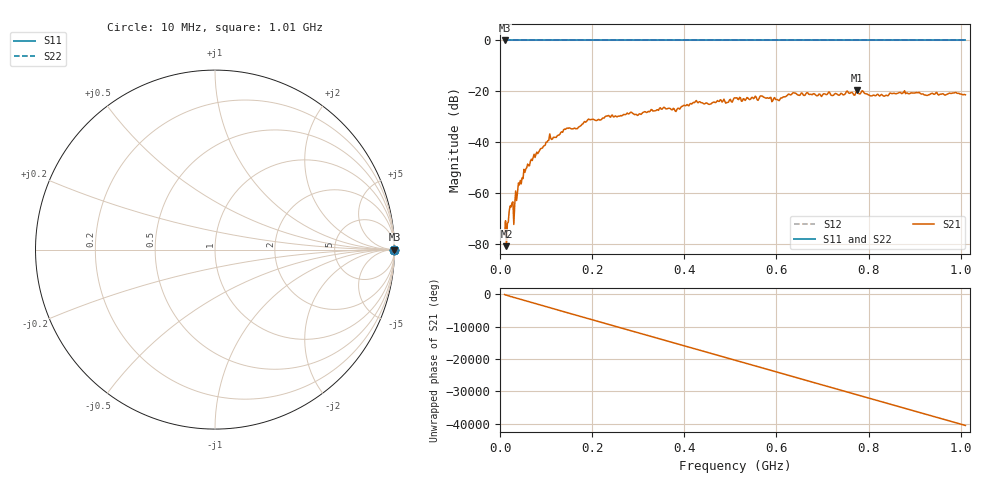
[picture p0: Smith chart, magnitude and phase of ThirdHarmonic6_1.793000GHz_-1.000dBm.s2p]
! 8/16/2025 9:41:46 PM
! C:\ANRITSUVNA\TEMP\TEMP.S2P
! CHANNEL.1
! TR.MEASUREMENT
! RAW.DATA
! RF.CORRECTION.OFF
! AVERAGING.OFF
! IF.BANDWIDTH: 5KHZ
! SWEEPTYPE:  FREQ.SWEEP(Linear)
! Reference Plane Port Info
! PORT:  PORT1  PORT2
! DISTANCE:  0  m  0  m
! TIME:  0  s  0  s
! PHASE.OFFSET:  0  deg.  0  deg.
! LOSS:  0  dB  0  dB
! REF.LOSS:  0  dB  0  dB
! REF.FREQ:  0  Hz  0  Hz
! Power Info
! POWER:  -20  dBm  -20  dBm
! EFF.POWER:  -20  dBm  -20  dBm
! SOURCE.ATTEN:  0  dB  0  dB
! TEST.ATTEN:  0  dB  0  dB
# GHZ S RI R 50.0
! FREQ.GHZ  S11RE  S11IM  S21RE  S21IM  S12RE  S12IM  S22RE  S22IM
!; PortSelection: Port_12
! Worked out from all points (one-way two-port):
!   501 points, 10 MHz to 1.01 GHz, reference 50 ohm
!   highest |S21| = -19.50 dB at 774 MHz (marker M1); lowest = -80.9 dB at 14 MHz (marker M2)
!   lowest |S11| = 0.0 dB at 10 MHz (marker M3)
!   |S11| at or under -10 dB: nowhere
!   |S22| runs from 0.0 to 0.0 dB; largest |S21 - S12| = 1.1
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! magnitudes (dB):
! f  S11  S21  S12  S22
! 10 MHz  0.0  -76.4  0.0  0.0
! 14 MHz  0.0  -80.9  0.0  0.0
! 24 MHz  0.0  -65.5  0.0  0.0
! 28 MHz  0.0  -63.4  0.0  0.0
! 34 MHz  0.0  -59.2  0.0  0.0
! 36 MHz  0.0  -62.9  0.0  0.0
! 44 MHz  0.0  -55.0  0.0  0.0
! 70 MHz  0.0  -47.2  0.0  0.0
! 106 MHz  0.0  -39.3  0.0  0.0
! 178 MHz  0.0  -32.9  0.0  0.0
! 232 MHz  0.0  -29.7  0.0  0.0
! 344 MHz  0.0  -27.5  0.0  0.0
! 384 MHz  0.0  -27.1  0.0  0.0
! 424 MHz  0.0  -24.1  0.0  0.0
! 454 MHz  0.0  -25.1  0.0  0.0
! 510 MHz  0.0  -22.6  0.0  0.0
! 602 MHz  0.0  -23.2  0.0  0.0
! 638 MHz  0.0  -20.6  0.0  0.0
! 678 MHz  0.0  -21.3  0.0  0.0
! 774 MHz  0.0  -19.5  0.0  0.0
! 844 MHz  0.0  -21.3  0.0  0.0
! 1.01 GHz  0.0  -21.4  0.0  0.0
